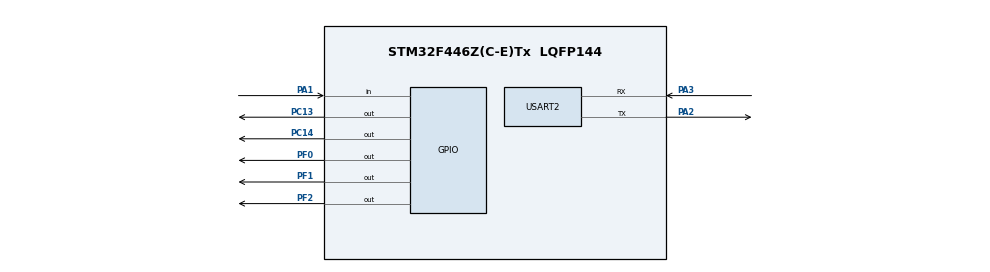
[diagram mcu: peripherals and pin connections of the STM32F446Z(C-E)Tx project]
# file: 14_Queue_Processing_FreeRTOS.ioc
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Dma.Request0=USART2_TX
Dma.USART2_TX.0.Direction=DMA_MEMORY_TO_PERIPH
Dma.USART2_TX.0.FIFOMode=DMA_FIFOMODE_DISABLE
Dma.USART2_TX.0.Instance=DMA1_Stream6
Dma.USART2_TX.0.MemDataAlignment=DMA_MDATAALIGN_BYTE
Dma.USART2_TX.0.MemInc=DMA_MINC_ENABLE
Dma.USART2_TX.0.Mode=DMA_NORMAL
Dma.USART2_TX.0.PeriphDataAlignment=DMA_PDATAALIGN_BYTE
Dma.USART2_TX.0.PeriphInc=DMA_PINC_DISABLE
Dma.USART2_TX.0.Priority=DMA_PRIORITY_LOW
FREERTOS.Tasks01=defaultTask,24,128,StartDefaultTask,Default,NULL,Dynamic,NULL,NULL;myTask02,8,128,StartTask02,Default,NULL,Dynamic,NULL,NULL;myTask03,8,128,StartTask03,Default,NULL,Dynamic,NULL,NULL;myTask04,8,128,StartTask04,Default,NULL,Dynamic,NULL,NULL
Mcu.Family=STM32F4
Mcu.Name=STM32F446Z(C-E)Tx
Mcu.Package=LQFP144
NVIC.DMA1_Stream6_IRQn=true\:5\:0\:false\:false\:true\:true\:false\:true\:true
NVIC.PriorityGroup=NVIC_PRIORITYGROUP_4
NVIC.USART2_IRQn=true\:5\:0\:false\:false\:true\:true\:true\:true\:true
PA1.Signal=GPIO_Input
PA2.Mode=Asynchronous
PA2.Signal=USART2_TX
PA3.Mode=Asynchronous
PA3.Signal=USART2_RX
PC13.Signal=GPIO_Output
PC14-OSC32_IN.Signal=GPIO_Output
PF0.Signal=GPIO_Output
PF1.Signal=GPIO_Output
PF2.Signal=GPIO_Output
ProjectManager.HeapSize=0x200
ProjectManager.StackSize=0x400
ProjectManager.TargetToolchain=STM32CubeIDE
RCC.CortexFreq_Value=16000000
RCC.USBFreq_Value=96000000
RCC.VCOOutputFreq_Value=192000000
USART2.VirtualMode=VM_ASYNC
VP_FREERTOS_VS_CMSIS_V2.Mode=CMSIS_V2
board=custom

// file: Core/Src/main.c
/* USER CODE BEGIN Header */
/**
  ******************************************************************************
  * @file           : main.c
  * @brief          : Main program body
  ******************************************************************************
  * @attention
  *
  * Copyright (c) 2024 STMicroelectronics.
  * All rights reserved.
  *
  * This software is licensed under terms that can be found in the LICENSE file
  * in the root directory of this software component.
  * If no LICENSE file comes with this software, it is provided AS-IS.
  *
  ******************************************************************************
  */
/* USER CODE END Header */
#include "main.h"
#include "cmsis_os.h"

/* USER CODE BEGIN Includes */
#include "string.h"
#include "stdio.h"
#include "queue.h"

/* USER CODE END Includes */

UART_HandleTypeDef huart2;
DMA_HandleTypeDef hdma_usart2_tx;

/* Definitions for defaultTask */
osThreadId_t defaultTaskHandle;
const osThreadAttr_t defaultTask_attributes = {
  .name = "defaultTask",
  .stack_size = 128 * 4,
  .priority = (osPriority_t) osPriorityNormal,
};
/* Definitions for myTask02 */
osThreadId_t myTask02Handle;
const osThreadAttr_t myTask02_attributes = {
  .name = "myTask02",
  .stack_size = 128 * 4,
  .priority = (osPriority_t) osPriorityLow,
};
/* Definitions for myTask03 */
osThreadId_t myTask03Handle;
const osThreadAttr_t myTask03_attributes = {
  .name = "myTask03",
  .stack_size = 128 * 4,
  .priority = (osPriority_t) osPriorityLow,
};
/* Definitions for myTask04 */
osThreadId_t myTask04Handle;
const osThreadAttr_t myTask04_attributes = {
  .name = "myTask04",
  .stack_size = 128 * 4,
  .priority = (osPriority_t) osPriorityLow,
};
/* USER CODE BEGIN PV */
uint8_t rxData[20];
uint8_t rxCount = 0;

char myMessage[100];
char menuDisplay[] = {"\r\n LED_ON  = 1 \
		               \r\n LED_OFF  = 2\
	                   \r\n LED_TOGGLE  = 3\
	               	   \r\n LED_STATUS  = 4\
	                   \r\n LED_EXIT_APP  = 5 "};
/* USER CODE END PV */

void SystemClock_Config(void);
static void MX_GPIO_Init(void);
static void MX_DMA_Init(void);
static void MX_USART2_UART_Init(void);
void StartDefaultTask(void *argument);
void StartTask02(void *argument);
void StartTask03(void *argument);
void StartTask04(void *argument);

QueueHandle_t Uart_Write_Queue = NULL;
QueueHandle_t Command_Queue = NULL;

uint8_t command_buffer[20];
uint8_t command_lenght = 0;
typedef struct APP_COMMAND
{
	uint8_t COMMAND_NUM;
	uint8_t COMMAND_ARGS[10];
}APP_COMMAND_t;

/* USER CODE BEGIN 0 */
void USART2_IRQHandler2(void)
{
	uint8_t rxCaracter;
	BaseType_t xHigherPriorityTaskWoken = pdFALSE;

	if(__HAL_UART_GET_FLAG(&huart2,UART_FLAG_RXNE))
	{
		rxCaracter = USART_ReceiveData(USART2);
		rxData[rxCount++] = rxCaracter & 0xFF;
		if(rxCaracter == 10)
		{
			command_lenght = 0;
			xTaskNotifyFromISR(myTask02Handle,0, eNotifyAction, &xHigherPriorityTaskWoken);
			xTaskNotifyFromISR(defaultTaskHandle,0, eNotifyAction, &xHigherPriorityTaskWoken);
			rxCount = 0;
		}

		  __HAL_UART_CLEAR_FLAG(&huart2, UART_FLAG_RXNE);
	}

	if(xHigherPriorityTaskWoken == pdTRUE)
	{
		taskYIELD();
	}
}

void printMessage(char *myMessage)
{
	for(int i = 0; i < strlen(myMessage); i++)
	{
        while (__HAL_UART_GET_FLAG(&huart2, UART_FLAG_TXE) == SET) {
        	 HAL_UART_Transmit(&huart2, (uint8_t*)&myMessage[i], 1, HAL_MAX_DELAY);
        }
	}
}
/* USER CODE END 0 */

int main(void)
{
  /* USER CODE BEGIN 1 */
	Uart_Write_Queue = xQueueCreate(10, sizeof(char*));

	Command_Queue = xQueueCreate(10, sizeof(APP_COMMAND_t*));

	if((Uart_Write_Queue != NULL) && ( Command_Queue != NULL))
	{
		sprintf(myMessage,"Queue creating succesful.\r\n"	);
		printMessage(myMessage);

		  defaultTaskHandle = osThreadNew(StartDefaultTask, NULL, &defaultTask_attributes);

		  /* creation of myTask02 */
		  myTask02Handle = osThreadNew(StartTask02, NULL, &myTask02_attributes);

		  /* creation of myTask03 */
		  myTask03Handle = osThreadNew(StartTask03, NULL, &myTask03_attributes);

		  /* creation of myTask04 */
		  myTask04Handle = osThreadNew(StartTask04, NULL, &myTask04_attributes);
	}
	else
	{
		sprintf(myMessage,"Queue creating failed.\r\n"	);
		printMessage(myMessage);
	}

  /* USER CODE END 1 */

  /* MCU Configuration--------------------------------------------------------*/

  /* Reset of all peripherals, Initializes the Flash interface and the Systick. */
  HAL_Init();

  /* Configure the system clock */
  SystemClock_Config();

  /* Initialize all configured peripherals */
  MX_GPIO_Init();
  MX_DMA_Init();
  MX_USART2_UART_Init();

  /* Init scheduler */
  osKernelInitialize();

  /* Create the thread(s) */
  /* creation of defaultTask */
//  defaultTaskHandle = osThreadNew(StartDefaultTask, NULL, &defaultTask_attributes);
//
//  /* creation of myTask02 */
//  myTask02Handle = osThreadNew(StartTask02, NULL, &myTask02_attributes);
//
//  /* creation of myTask03 */
//  myTask03Handle = osThreadNew(StartTask03, NULL, &myTask03_attributes);
//
//  /* creation of myTask04 */
//  myTask04Handle = osThreadNew(StartTask04, NULL, &myTask04_attributes);

  /* Start scheduler */
  osKernelStart();

  /* We should never get here as control is now taken by the scheduler */
  /* Infinite loop */
  while (1)
  {

  }
}

void SystemClock_Config(void)
{
  RCC_OscInitTypeDef RCC_OscInitStruct = {0};
  RCC_ClkInitTypeDef RCC_ClkInitStruct = {0};

  /** Configure the main internal regulator output voltage
  */
  __HAL_RCC_PWR_CLK_ENABLE();
  __HAL_PWR_VOLTAGESCALING_CONFIG(PWR_REGULATOR_VOLTAGE_SCALE3);

  /** Initializes the RCC Oscillators according to the specified parameters
  * in the RCC_OscInitTypeDef structure.
  */
  RCC_OscInitStruct.OscillatorType = RCC_OSCILLATORTYPE_HSI;
  RCC_OscInitStruct.HSIState = RCC_HSI_ON;
  RCC_OscInitStruct.HSICalibrationValue = RCC_HSICALIBRATION_DEFAULT;
  RCC_OscInitStruct.PLL.PLLState = RCC_PLL_NONE;
  if (HAL_RCC_OscConfig(&RCC_OscInitStruct) != HAL_OK)
  {
    Error_Handler();
  }

  /** Initializes the CPU, AHB and APB buses clocks
  */
  RCC_ClkInitStruct.ClockType = RCC_CLOCKTYPE_HCLK|RCC_CLOCKTYPE_SYSCLK
                              |RCC_CLOCKTYPE_PCLK1|RCC_CLOCKTYPE_PCLK2;
  RCC_ClkInitStruct.SYSCLKSource = RCC_SYSCLKSOURCE_HSI;
  RCC_ClkInitStruct.AHBCLKDivider = RCC_SYSCLK_DIV1;
  RCC_ClkInitStruct.APB1CLKDivider = RCC_HCLK_DIV1;
  RCC_ClkInitStruct.APB2CLKDivider = RCC_HCLK_DIV1;

  if (HAL_RCC_ClockConfig(&RCC_ClkInitStruct, FLASH_LATENCY_0) != HAL_OK)
  {
    Error_Handler();
  }
}

static void MX_USART2_UART_Init(void)
{

  huart2.Instance = USART2;
  huart2.Init.BaudRate = 115200;
  huart2.Init.WordLength = UART_WORDLENGTH_8B;
  huart2.Init.StopBits = UART_STOPBITS_1;
  huart2.Init.Parity = UART_PARITY_NONE;
  huart2.Init.Mode = UART_MODE_TX_RX;
  huart2.Init.HwFlowCtl = UART_HWCONTROL_NONE;
  huart2.Init.OverSampling = UART_OVERSAMPLING_16;

  HAL_NVIC_SetPriority(USART2_IRQn, 5, 0);
  HAL_NVIC_EnableIRQ(USART2_IRQn);
  if (HAL_UART_Init(&huart2) != HAL_OK)
  {
    Error_Handler();
  }

}

static void MX_DMA_Init(void)
{

  /* DMA controller clock enable */
  __HAL_RCC_DMA1_CLK_ENABLE();

  /* DMA interrupt init */
  /* DMA1_Stream6_IRQn interrupt configuration */
  HAL_NVIC_SetPriority(DMA1_Stream6_IRQn, 5, 0); //kesme fonksiyonuna önelik atıyor
  HAL_NVIC_EnableIRQ(DMA1_Stream6_IRQn);

}

static void MX_GPIO_Init(void)
{
  GPIO_InitTypeDef GPIO_InitStruct = {0};

  /* GPIO Ports Clock Enable */
  __HAL_RCC_GPIOC_CLK_ENABLE();
  __HAL_RCC_GPIOF_CLK_ENABLE();
  __HAL_RCC_GPIOA_CLK_ENABLE();

  /*Configure GPIO pin Output Level */
  HAL_GPIO_WritePin(GPIOC, GPIO_PIN_13|GPIO_PIN_14, GPIO_PIN_RESET);

  /*Configure GPIO pin Output Level */
  HAL_GPIO_WritePin(GPIOF, GPIO_PIN_0|GPIO_PIN_1|GPIO_PIN_2, GPIO_PIN_RESET);

  /*Configure GPIO pins : PC13 PC14 */
  GPIO_InitStruct.Pin = GPIO_PIN_13|GPIO_PIN_14;
  GPIO_InitStruct.Mode = GPIO_MODE_OUTPUT_PP;
  GPIO_InitStruct.Pull = GPIO_NOPULL;
  GPIO_InitStruct.Speed = GPIO_SPEED_FREQ_LOW;
  HAL_GPIO_Init(GPIOC, &GPIO_InitStruct);

  /*Configure GPIO pins : PF0 PF1 PF2 */
  GPIO_InitStruct.Pin = GPIO_PIN_0|GPIO_PIN_1|GPIO_PIN_2;
  GPIO_InitStruct.Mode = GPIO_MODE_OUTPUT_PP;
  GPIO_InitStruct.Pull = GPIO_NOPULL;
  GPIO_InitStruct.Speed = GPIO_SPEED_FREQ_LOW;
  HAL_GPIO_Init(GPIOF, &GPIO_InitStruct);

  /*Configure GPIO pin : PA1 */
  GPIO_InitStruct.Pin = GPIO_PIN_1;
  GPIO_InitStruct.Mode = GPIO_MODE_INPUT;
  GPIO_InitStruct.Pull = GPIO_NOPULL;
  HAL_GPIO_Init(GPIOA, &GPIO_InitStruct);

}

void StartDefaultTask(void *argument)
{
  /* USER CODE BEGIN 5 */
  /* Infinite loop */
  for(;;)
  {
	  //uart_queue veri göndereceğim
	  //bildirim bekliyeceğim
	  xTaskNotifyWait(0, 0, NULL, portMAX_DELAY);
    osDelay(1);
  }
  /* USER CODE END 5 */
}

void StartTask02(void *argument)
{
  /* USER CODE BEGIN StartTask02 */
  /* Infinite loop */
  for(;;)
  {
	  xTaskNotifyWait(0, 0, NULL, portMAX_DELAY);
	  //command buffer -> command queue
    osDelay(1);
  }
  /* USER CODE END StartTask02 */
}

void StartTask03(void *argument)
{
  /* USER CODE BEGIN StartTask03 */
  /* Infinite loop */
  for(;;)
  {
	  //read command queue
    osDelay(1);
  }
  /* USER CODE END StartTask03 */
}

void StartTask04(void *argument)
{
  /* USER CODE BEGIN StartTask04 */
  /* Infinite loop */
  for(;;)
  {
	  //read from write queue
    osDelay(1);
  }
  /* USER CODE END StartTask04 */
}

void Error_Handler(void)
{
  __disable_irq();
  while (1)
  {
  }
}
